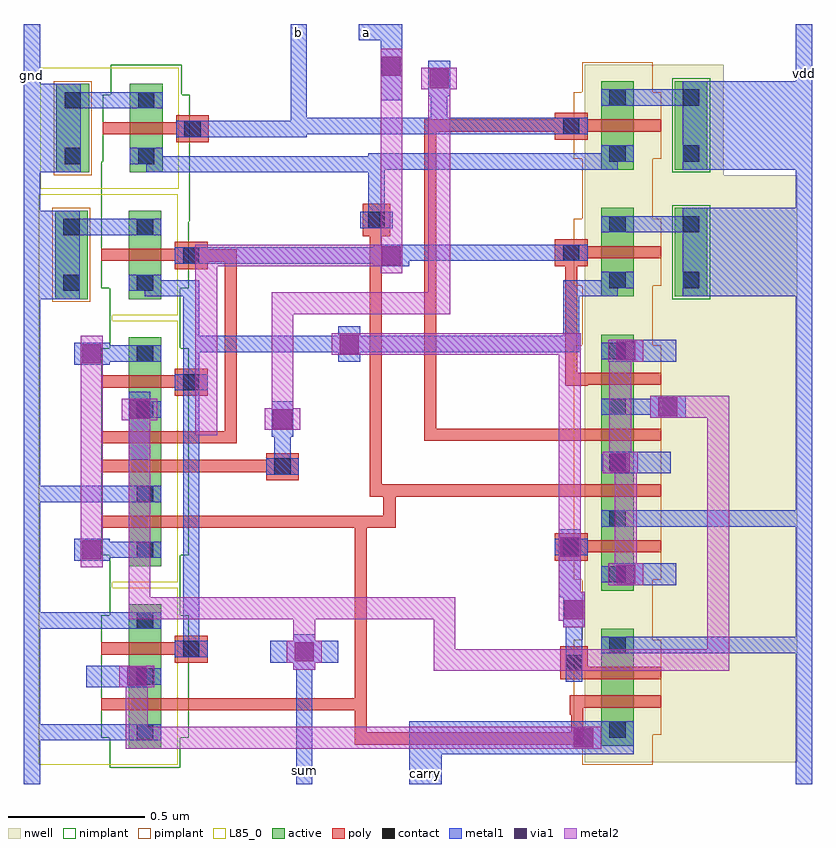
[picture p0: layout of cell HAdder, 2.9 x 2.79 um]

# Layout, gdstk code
from math import pi, radians
import gdstk
lib = gdstk.Library(unit=1e-6, precision=5e-10)
def R(c, l, rs):  # rectangles x0, y0, x1, y1
    for r in rs: c.add(gdstk.rectangle(r[:2], r[2:], *l))
active = (1, 0)
nwell = (2, 0)
poly = (3, 0)
nimplant = (4, 0)
pimplant = (5, 0)
contact = (6, 0)
metal1 = (7, 0)
via1 = (8, 0)
metal2 = (9, 0)
L85_0 = (85, 0)

pmos1v_cdns_764915992330 = lib.new_cell('pmos1v_CDNS_764915992330')
R(pmos1v_cdns_764915992330, active, [(-0.14,0,0,0.12), (0,0,0.045,0.12), (0.045,0,0.185,0.12), (-0.14,0.27,0.185,0.39)])
R(pmos1v_cdns_764915992330, nwell, [(-0.2,-0.06,0.245,0.45)])
R(pmos1v_cdns_764915992330, poly, [(0,-0.1,0.045,-0.05), (0,-0.05,0.045,0), (0,0,0.045,0.12), (0,0.12,0.045,0.17), (0,0.17,0.045,0.22)])
R(pmos1v_cdns_764915992330, nimplant, [(-0.15,0.26,0.195,0.4)])
R(pmos1v_cdns_764915992330, pimplant, [(-0.1,-0.1,0.145,0.22), (-0.21,-0.07,0.255,0.19)])
R(pmos1v_cdns_764915992330, contact, [(-0.11,0.03,-0.05,0.09), (0.095,0.03,0.155,0.09), (-0.11,0.3,-0.05,0.36), (0.095,0.3,0.155,0.36)])
R(pmos1v_cdns_764915992330, metal1, [(-0.11,0,-0.05,0.12), (0.095,0,0.155,0.12), (-0.14,0.3,0.185,0.36)])

nmos1v_cdns_764915992331 = lib.new_cell('nmos1v_CDNS_764915992331')
R(nmos1v_cdns_764915992331, active, [(-0.14,0,0,0.12), (0,0,0.045,0.12), (0.045,0,0.095,0.12)])
R(nmos1v_cdns_764915992331, poly, [(0,-0.1,0.045,-0.05), (0,-0.05,0.045,0), (0,0,0.045,0.12), (0,0.12,0.045,0.17), (0,0.17,0.045,0.22)])
R(nmos1v_cdns_764915992331, nimplant, [(-0.1,-0.1,0.145,0.22), (-0.21,-0.07,0.165,0.19)])
R(nmos1v_cdns_764915992331, contact, [(-0.11,0.03,-0.05,0.09)])
R(nmos1v_cdns_764915992331, metal1, [(-0.11,0,-0.05,0.12)])
R(nmos1v_cdns_764915992331, L85_0, [(-0.2,-0.06,0.155,0.18)])

pmos1v_cdns_764915992332 = lib.new_cell('pmos1v_CDNS_764915992332')
R(pmos1v_cdns_764915992332, active, [(-0.11,0,0,0.12), (0,0,0.045,0.12), (0.045,0,0.155,0.12)])
R(pmos1v_cdns_764915992332, nwell, [(-0.17,-0.06,0.215,0.18)])
R(pmos1v_cdns_764915992332, poly, [(0,-0.1,0.045,-0.05), (0,-0.05,0.045,0), (0,0,0.045,0.12), (0,0.12,0.045,0.17), (0,0.17,0.045,0.22)])
R(pmos1v_cdns_764915992332, pimplant, [(-0.1,-0.1,0.145,0.22), (-0.18,-0.07,0.225,0.19)])
R(pmos1v_cdns_764915992332, contact, [(-0.11,0.03,-0.05,0.09), (0.095,0.03,0.155,0.09)])
R(pmos1v_cdns_764915992332, metal1, [(-0.11,0,-0.05,0.12), (0.095,0,0.155,0.12)])

pmos1v_cdns_764915992333 = lib.new_cell('pmos1v_CDNS_764915992333')
R(pmos1v_cdns_764915992333, active, [(-0.14,0,0,0.12), (0,0,0.045,0.12), (0.045,0,0.155,0.12)])
R(pmos1v_cdns_764915992333, nwell, [(-0.2,-0.06,0.215,0.18)])
R(pmos1v_cdns_764915992333, poly, [(0,-0.1,0.045,-0.05), (0,-0.05,0.045,0), (0,0,0.045,0.12), (0,0.12,0.045,0.17), (0,0.17,0.045,0.22)])
R(pmos1v_cdns_764915992333, pimplant, [(-0.1,-0.1,0.145,0.22), (-0.21,-0.07,0.225,0.19)])
R(pmos1v_cdns_764915992333, contact, [(-0.11,0.03,-0.05,0.09), (0.095,0.03,0.155,0.09)])
R(pmos1v_cdns_764915992333, metal1, [(-0.11,0,-0.05,0.12), (0.095,0,0.155,0.12)])

pmos1v_cdns_764915992334 = lib.new_cell('pmos1v_CDNS_764915992334')
R(pmos1v_cdns_764915992334, active, [(-0.14,0,0,0.12), (0,0,0.045,0.12), (0.045,0,0.075,0.12)])
R(pmos1v_cdns_764915992334, nwell, [(-0.2,-0.06,0.135,0.18)])
R(pmos1v_cdns_764915992334, poly, [(0,-0.1,0.045,-0.05), (0,-0.05,0.045,0), (0,0,0.045,0.12), (0,0.12,0.045,0.17), (0,0.17,0.045,0.22)])
R(pmos1v_cdns_764915992334, pimplant, [(-0.1,-0.1,0.145,0.22), (-0.21,-0.07,0.145,0.19)])
R(pmos1v_cdns_764915992334, contact, [(-0.11,0.03,-0.05,0.09)])
R(pmos1v_cdns_764915992334, metal1, [(-0.11,0,-0.05,0.12)])

pmos1v_cdns_764915992335 = lib.new_cell('pmos1v_CDNS_764915992335')
R(pmos1v_cdns_764915992335, active, [(-0.03,0,0,0.12), (0,0,0.045,0.12), (0.045,0,0.185,0.12)])
R(pmos1v_cdns_764915992335, nwell, [(-0.09,-0.06,0.245,0.18)])
R(pmos1v_cdns_764915992335, poly, [(0,-0.1,0.045,-0.05), (0,-0.05,0.045,0), (0,0,0.045,0.12), (0,0.12,0.045,0.17), (0,0.17,0.045,0.22)])
R(pmos1v_cdns_764915992335, pimplant, [(-0.1,-0.1,0.145,0.22), (-0.1,-0.07,0.255,0.19)])
R(pmos1v_cdns_764915992335, contact, [(0.095,0.03,0.155,0.09)])
R(pmos1v_cdns_764915992335, metal1, [(0.095,0,0.155,0.12)])

nmos1v_cdns_764915992336 = lib.new_cell('nmos1v_CDNS_764915992336')
R(nmos1v_cdns_764915992336, active, [(-0.14,0,0,0.12), (0,0,0.045,0.12), (0.045,0,0.155,0.12)])
R(nmos1v_cdns_764915992336, poly, [(0,-0.1,0.045,-0.05), (0,-0.05,0.045,0), (0,0,0.045,0.12), (0,0.12,0.045,0.17), (0,0.17,0.045,0.22)])
R(nmos1v_cdns_764915992336, nimplant, [(-0.1,-0.1,0.145,0.22), (-0.21,-0.07,0.225,0.19)])
R(nmos1v_cdns_764915992336, contact, [(-0.11,0.03,-0.05,0.09), (0.095,0.03,0.155,0.09)])
R(nmos1v_cdns_764915992336, metal1, [(-0.11,0,-0.05,0.12), (0.095,0,0.155,0.12)])
R(nmos1v_cdns_764915992336, L85_0, [(-0.2,-0.06,0.215,0.18)])

nmos1v_cdns_764915992337 = lib.new_cell('nmos1v_CDNS_764915992337')
R(nmos1v_cdns_764915992337, active, [(-0.05,0,0,0.12), (0,0,0.045,0.12), (0.045,0,0.185,0.12)])
R(nmos1v_cdns_764915992337, poly, [(0,-0.1,0.045,-0.05), (0,-0.05,0.045,0), (0,0,0.045,0.12), (0,0.12,0.045,0.17), (0,0.17,0.045,0.22)])
R(nmos1v_cdns_764915992337, nimplant, [(-0.1,-0.1,0.145,0.22), (-0.12,-0.07,0.255,0.19)])
R(nmos1v_cdns_764915992337, contact, [(0.095,0.03,0.155,0.09)])
R(nmos1v_cdns_764915992337, metal1, [(0.095,0,0.155,0.12)])
R(nmos1v_cdns_764915992337, L85_0, [(-0.11,-0.06,0.245,0.18)])

nmos1v_cdns_764915992338 = lib.new_cell('nmos1v_CDNS_764915992338')
R(nmos1v_cdns_764915992338, active, [(-0.03,0,0,0.12), (0,0,0.045,0.12), (0.045,0,0.095,0.12)])
R(nmos1v_cdns_764915992338, poly, [(0,-0.1,0.045,-0.05), (0,-0.05,0.045,0), (0,0,0.045,0.12), (0,0.12,0.045,0.17), (0,0.17,0.045,0.22)])
R(nmos1v_cdns_764915992338, nimplant, [(-0.1,-0.1,0.145,0.22), (-0.1,-0.07,0.165,0.19)])
R(nmos1v_cdns_764915992338, L85_0, [(-0.09,-0.06,0.155,0.18)])

nmos1v_cdns_764915992339 = lib.new_cell('nmos1v_CDNS_764915992339')
R(nmos1v_cdns_764915992339, active, [(-0.11,0,0,0.12), (0,0,0.045,0.12), (0.045,0,0.075,0.12)])
R(nmos1v_cdns_764915992339, poly, [(0,-0.1,0.045,-0.05), (0,-0.05,0.045,0), (0,0,0.045,0.12), (0,0.12,0.045,0.17), (0,0.17,0.045,0.22)])
R(nmos1v_cdns_764915992339, nimplant, [(-0.1,-0.1,0.145,0.22), (-0.18,-0.07,0.145,0.19)])
R(nmos1v_cdns_764915992339, contact, [(-0.11,0.03,-0.05,0.09)])
R(nmos1v_cdns_764915992339, metal1, [(-0.11,0,-0.05,0.12)])
R(nmos1v_cdns_764915992339, L85_0, [(-0.17,-0.06,0.135,0.18)])

pmos1v_cdns_764915992331 = lib.new_cell('pmos1v_CDNS_7649159923310')
R(pmos1v_cdns_764915992331, active, [(-0.05,0,0,0.12), (0,0,0.045,0.12), (0.045,0,0.185,0.12)])
R(pmos1v_cdns_764915992331, nwell, [(-0.11,-0.06,0.245,0.18)])
R(pmos1v_cdns_764915992331, poly, [(0,-0.1,0.045,-0.05), (0,-0.05,0.045,0), (0,0,0.045,0.12), (0,0.12,0.045,0.17), (0,0.17,0.045,0.22)])
R(pmos1v_cdns_764915992331, pimplant, [(-0.1,-0.1,0.145,0.22), (-0.12,-0.07,0.255,0.19)])
R(pmos1v_cdns_764915992331, contact, [(0.095,0.03,0.155,0.09)])
R(pmos1v_cdns_764915992331, metal1, [(0.095,0,0.155,0.12)])

c_pmos1v_cdns_764915992331 = lib.new_cell('pmos1v_CDNS_7649159923311')
R(c_pmos1v_cdns_764915992331, active, [(-0.05,0,0,0.12), (0,0,0.045,0.12), (0.045,0,0.095,0.12)])
R(c_pmos1v_cdns_764915992331, nwell, [(-0.11,-0.06,0.155,0.18)])
R(c_pmos1v_cdns_764915992331, poly, [(0,-0.1,0.045,-0.05), (0,-0.05,0.045,0), (0,0,0.045,0.12), (0,0.12,0.045,0.17), (0,0.17,0.045,0.22)])
R(c_pmos1v_cdns_764915992331, pimplant, [(-0.1,-0.1,0.145,0.22), (-0.12,-0.07,0.165,0.19)])

c_nmos1v_cdns_764915992331 = lib.new_cell('nmos1v_CDNS_7649159923312')
R(c_nmos1v_cdns_764915992331, active, [(-0.14,-0.27,0.185,-0.15), (-0.14,0,0,0.12), (0,0,0.045,0.12), (0.045,0,0.185,0.12)])
R(c_nmos1v_cdns_764915992331, poly, [(0,-0.1,0.045,-0.05), (0,-0.05,0.045,0), (0,0,0.045,0.12), (0,0.12,0.045,0.17), (0,0.17,0.045,0.22)])
R(c_nmos1v_cdns_764915992331, nimplant, [(-0.1,-0.1,0.145,0.22), (-0.21,-0.07,0.255,0.19)])
R(c_nmos1v_cdns_764915992331, pimplant, [(-0.15,-0.28,0.195,-0.14)])
R(c_nmos1v_cdns_764915992331, contact, [(-0.11,-0.24,-0.05,-0.18), (0.095,-0.24,0.155,-0.18), (-0.11,0.03,-0.05,0.09), (0.095,0.03,0.155,0.09)])
R(c_nmos1v_cdns_764915992331, metal1, [(-0.14,-0.24,0.185,-0.18), (-0.11,0,-0.05,0.12), (0.095,0,0.155,0.12)])
R(c_nmos1v_cdns_764915992331, L85_0, [(-0.2,-0.33,0.245,0.18)])

m1_po_cdns_764915992330 = lib.new_cell('M1_PO_CDNS_764915992330')
R(m1_po_cdns_764915992330, poly, [(-0.06,-0.05,0.06,0.05)])
R(m1_po_cdns_764915992330, contact, [(-0.03,-0.03,0.03,0.03)])
R(m1_po_cdns_764915992330, metal1, [(-0.03,-0.06,0.03,0.06)])

m1_po_cdns_764915992331 = lib.new_cell('M1_PO_CDNS_764915992331')
R(m1_po_cdns_764915992331, poly, [(-0.05,-0.06,0.05,0.06)])
R(m1_po_cdns_764915992331, contact, [(-0.03,-0.03,0.03,0.03)])
R(m1_po_cdns_764915992331, metal1, [(-0.03,-0.06,0.03,0.06)])

m2_m1_cdns_764915992332 = lib.new_cell('M2_M1_CDNS_764915992332')
R(m2_m1_cdns_764915992332, metal1, [(-0.065,-0.04,0.065,0.04)])
R(m2_m1_cdns_764915992332, via1, [(-0.035,-0.035,0.035,0.035)])
R(m2_m1_cdns_764915992332, metal2, [(-0.04,-0.065,0.04,0.065)])

m2_m1_cdns_764915992333 = lib.new_cell('M2_M1_CDNS_764915992333')
R(m2_m1_cdns_764915992333, metal1, [(-0.04,-0.065,0.04,0.065)])
R(m2_m1_cdns_764915992333, via1, [(-0.035,-0.035,0.035,0.035)])
R(m2_m1_cdns_764915992333, metal2, [(-0.065,-0.04,0.065,0.04)])

m2_m1_cdns_764915992334 = lib.new_cell('M2_M1_CDNS_764915992334')
R(m2_m1_cdns_764915992334, metal1, [(-0.125,-0.04,0.125,0.04)])
R(m2_m1_cdns_764915992334, via1, [(-0.035,-0.035,0.035,0.035)])
R(m2_m1_cdns_764915992334, metal2, [(-0.065,-0.04,0.065,0.04)])

m2_m1_cdns_764915992335 = lib.new_cell('M2_M1_CDNS_764915992335')
R(m2_m1_cdns_764915992335, metal1, [(-0.065,-0.04,0.185,0.04)])
R(m2_m1_cdns_764915992335, via1, [(-0.035,-0.035,0.035,0.035)])
R(m2_m1_cdns_764915992335, metal2, [(-0.065,-0.04,0.065,0.04)])

m2_m1_cdns_764915992336 = lib.new_cell('M2_M1_CDNS_764915992336')
R(m2_m1_cdns_764915992336, metal1, [(-0.065,-0.04,0.185,0.04)])
R(m2_m1_cdns_764915992336, via1, [(-0.035,-0.035,0.035,0.035)])
R(m2_m1_cdns_764915992336, metal2, [(-0.04,-0.065,0.04,0.065)])

m2_m1_cdns_764915992337 = lib.new_cell('M2_M1_CDNS_764915992337')
R(m2_m1_cdns_764915992337, metal1, [(-0.04,-0.065,0.04,0.065)])
R(m2_m1_cdns_764915992337, via1, [(-0.035,-0.035,0.035,0.035)])
R(m2_m1_cdns_764915992337, metal2, [(-0.04,-0.065,0.04,0.065)])

m2_m1_cdns_764915992338 = lib.new_cell('M2_M1_CDNS_764915992338')
R(m2_m1_cdns_764915992338, metal1, [(-0.04,-0.065,0.04,0.185)])
R(m2_m1_cdns_764915992338, via1, [(-0.035,-0.035,0.035,0.035)])
R(m2_m1_cdns_764915992338, metal2, [(-0.04,-0.065,0.04,0.065)])

m2_m1_cdns_764915992339 = lib.new_cell('M2_M1_CDNS_764915992339')
R(m2_m1_cdns_764915992339, metal1, [(-0.04,-0.125,0.04,0.125)])
R(m2_m1_cdns_764915992339, via1, [(-0.035,-0.035,0.035,0.035)])
R(m2_m1_cdns_764915992339, metal2, [(-0.065,-0.04,0.065,0.04)])

m2_m1_cdns_7649159923310 = lib.new_cell('M2_M1_CDNS_7649159923310')
R(m2_m1_cdns_7649159923310, metal1, [(-0.04,-0.185,0.04,0.065)])
R(m2_m1_cdns_7649159923310, via1, [(-0.035,-0.035,0.035,0.035)])
R(m2_m1_cdns_7649159923310, metal2, [(-0.04,-0.065,0.04,0.065)])

m2_m1_cdns_7649159923311 = lib.new_cell('M2_M1_CDNS_7649159923311')
R(m2_m1_cdns_7649159923311, metal1, [(-0.065,-0.04,0.065,0.04)])
R(m2_m1_cdns_7649159923311, via1, [(-0.035,-0.035,0.035,0.035)])
R(m2_m1_cdns_7649159923311, metal2, [(-0.065,-0.04,0.065,0.04)])

hadder = lib.new_cell('HAdder')
R(hadder, nwell, [(2.46,-3.645,3.24,-1.49), (2.7,-3.645,3.235,-1.995), (2.7,-3.245,3.235,-1.835)])
R(hadder, nimplant, [(0.685,-1.66,0.72,-1.44), (0.975,-1.66,1.01,-1.44)])
R(hadder, metal1, [(1.4,-3.725,1.46,-3.665), (1.845,-3.725,1.905,-3.665), (0.4,-1.155,0.46,-1.095), (3.235,-1.145,3.295,-1.085), (1.38,-0.995,1.44,-0.935), (1.63,-0.995,1.69,-0.935)])
R(hadder, L85_0, [(0.455,-3.655,0.725,-2.005)])
hadder.add(gdstk.FlexPath([(2.47,-2.24),(2.41,-2.24)], 0.045, ends=(0, 0.0225), simple_path=True, layer=3, datatype=0))  # poly
hadder.add(gdstk.FlexPath([(0.9775,-2.4525),(1.15,-2.4525)], 0.045, ends="extended", simple_path=True, layer=3, datatype=0))  # poly
hadder.add(gdstk.FlexPath([(1.16,-1.785),(1.015,-1.785)], 0.045, ends="extended", simple_path=True, layer=3, datatype=0))  # poly
hadder.add(gdstk.FlexPath([(1.16,-2.4525),(1.16,-1.785)], 0.045, ends="extended", simple_path=True, layer=3, datatype=0))  # poly
hadder.add(gdstk.FlexPath([(1.15,-2.4525),(1.16,-2.4525)], 0.045, ends="extended", simple_path=True, layer=3, datatype=0))  # poly
hadder.add(gdstk.FlexPath([(2.47,-2.6475),(1.7425,-2.6475)], 0.045, ends=(0, 0.0225), simple_path=True, layer=3, datatype=0))  # poly
hadder.add(gdstk.FlexPath([(2.41,-2.24),(2.41,-1.775)], 0.045, ends="extended", simple_path=True, layer=3, datatype=0))  # poly
hadder.add(gdstk.FlexPath([(1.695,-1.6525),(1.695,-1.655)], 0.045, ends="extended", simple_path=True, layer=3, datatype=0))  # poly
hadder.add(gdstk.FlexPath([(2.47,-1.7725),(2.41,-1.7725)], 0.045, ends=(0, 0.06), simple_path=True, layer=3, datatype=0))  # poly
hadder.add(gdstk.FlexPath([(1.015,-3.2275),(1.015,-3.23)], 0.045, ends="flush", simple_path=True, layer=3, datatype=0))  # poly
hadder.add(gdstk.FlexPath([(1.015,-1.7825),(1.015,-1.785)], 0.045, ends="flush", simple_path=True, layer=3, datatype=0))  # poly
hadder.add(gdstk.FlexPath([(0.955,-1.7825),(1.015,-1.7825)], 0.045, ends=(0, 0.06), simple_path=True, layer=3, datatype=0))  # poly
hadder.add(gdstk.FlexPath([(2.41,-2.8525),(2.41,-2.855)], 0.045, ends=(0.0225, 0), simple_path=True, layer=3, datatype=0))  # poly
hadder.add(gdstk.FlexPath([(1.015,-2.2475),(1.015,-2.25)], 0.045, ends="flush", simple_path=True, layer=3, datatype=0))  # poly
hadder.add(gdstk.FlexPath([(0.955,-2.2475),(1.015,-2.2475)], 0.045, ends=(0, 0.06), simple_path=True, layer=3, datatype=0))  # poly
hadder.add(gdstk.FlexPath([(2.47,-2.8525),(2.41,-2.8525)], 0.045, ends=(0, 0.0225), simple_path=True, layer=3, datatype=0))  # poly
hadder.add(gdstk.FlexPath([(2.4275,-3.4225),(2.42,-3.4225)], 0.045, ends=(0.0225, 0), simple_path=True, layer=3, datatype=0))  # poly
hadder.add(gdstk.FlexPath([(0.955,-3.2275),(1.015,-3.2275)], 0.045, ends=(0, 0.06), simple_path=True, layer=3, datatype=0))  # poly
hadder.add(gdstk.FlexPath([(1.8925,-1.3075),(2.4475,-1.3075)], 0.045, ends="extended", simple_path=True, layer=3, datatype=0))  # poly
hadder.add(gdstk.FlexPath([(2.4275,-3.47),(2.4275,-3.4225)], 0.045, ends=(0, 0.0225), simple_path=True, layer=3, datatype=0))  # poly
hadder.add(gdstk.FlexPath([(0.955,-2.5575),(1.35,-2.5575)], 0.045, ends="flush", simple_path=True, layer=3, datatype=0))  # poly
hadder.add(gdstk.FlexPath([(1.8925,-2.4425),(1.8925,-1.3075)], 0.045, ends="extended", simple_path=True, layer=3, datatype=0))  # poly
hadder.add(gdstk.FlexPath([(1.6925,-1.6525),(1.695,-1.6525)], 0.045, ends=(0.0225, 0), simple_path=True, layer=3, datatype=0))  # poly
hadder.add(gdstk.FlexPath([(1.005,-3.4325),(1.6375,-3.4325)], 0.045, ends=(0, 0.0225), simple_path=True, layer=3, datatype=0))  # poly
hadder.add(gdstk.FlexPath([(0.955,-2.7625),(1.6375,-2.7625)], 0.045, ends=(0, 0.0225), simple_path=True, layer=3, datatype=0))  # poly
hadder.add(gdstk.FlexPath([(2.4325,-3.5575),(2.4325,-3.445)], 0.045, ends=(0.0225, 0), simple_path=True, layer=3, datatype=0))  # poly
hadder.add(gdstk.FlexPath([(1.6375,-3.5575),(2.4325,-3.5575)], 0.045, ends="extended", simple_path=True, layer=3, datatype=0))  # poly
hadder.add(gdstk.FlexPath([(1.6375,-3.4325),(1.6375,-3.5575)], 0.045, ends="extended", simple_path=True, layer=3, datatype=0))  # poly
hadder.add(gdstk.FlexPath([(1.6375,-2.7625),(1.6375,-3.4325)], 0.045, ends="extended", simple_path=True, layer=3, datatype=0))  # poly
hadder.add(gdstk.FlexPath([(2.41,-1.3075),(2.41,-1.31)], 0.045, ends="extended", simple_path=True, layer=3, datatype=0))  # poly
hadder.add(gdstk.FlexPath([(1.35,-2.5575),(1.35,-2.56)], 0.045, ends="extended", simple_path=True, layer=3, datatype=0))  # poly
hadder.add(gdstk.FlexPath([(1.7425,-2.7625),(1.7425,-2.6475)], 0.045, ends="extended", simple_path=True, layer=3, datatype=0))  # poly
hadder.add(gdstk.FlexPath([(1.6375,-2.7625),(1.7425,-2.7625)], 0.045, ends="extended", simple_path=True, layer=3, datatype=0))  # poly
hadder.add(gdstk.FlexPath([(2.4475,-2.4425),(1.8925,-2.4425)], 0.045, ends="extended", simple_path=True, layer=3, datatype=0))  # poly
hadder.add(gdstk.FlexPath([(1.6925,-2.6475),(1.6925,-1.6525)], 0.045, ends="extended", simple_path=True, layer=3, datatype=0))  # poly
hadder.add(gdstk.FlexPath([(1.7425,-2.6475),(1.6925,-2.6475)], 0.045, ends="extended", simple_path=True, layer=3, datatype=0))  # poly
hadder.add(gdstk.FlexPath([(2.42,-3.085),(2.42,-3.32)], 0.06, ends=(0.065, 0.03), simple_path=True, layer=7, datatype=0))  # metal1
hadder.add(gdstk.FlexPath([(1.41,-1.31),(1.925,-1.31)], 0.06, ends="extended", simple_path=True, layer=7, datatype=0))  # metal1
hadder.add(gdstk.FlexPath([(1.925,-1.135),(1.925,-1.31)], 0.06, ends="extended", simple_path=True, layer=7, datatype=0))  # metal1
hadder.add(gdstk.FlexPath([(1.0175,-1.32),(1.02,-1.32)], 0.06, ends=(0, 0.03), simple_path=True, layer=7, datatype=0))  # metal1
hadder.add(gdstk.FlexPath([(1.02,-1.32),(1.41,-1.32)], 0.06, ends=(0, 0.03), simple_path=True, layer=7, datatype=0))  # metal1
hadder.add(gdstk.FlexPath([(0.65,-2.145),(0.875,-2.145)], 0.06, ends=(0.065, 0.03), simple_path=True, layer=7, datatype=0))  # metal1
hadder.add(gdstk.FlexPath([(0.875,-2.865),(0.65,-2.865)], 0.06, ends=(0.03, 0.065), simple_path=True, layer=7, datatype=0))  # metal1
hadder.add(gdstk.FlexPath([(0.785,-1.68),(0.545,-1.68)], 0.06, ends="flush", simple_path=True, layer=7, datatype=0))  # metal1
hadder.add(gdstk.FlexPath([(0.79,-1.215),(0.55,-1.215)], 0.06, ends="flush", simple_path=True, layer=7, datatype=0))  # metal1
hadder.add(gdstk.FlexPath([(2.64,-1.67),(2.88,-1.67)], 0.06, ends="flush", simple_path=True, layer=7, datatype=0))  # metal1
hadder.add(gdstk.FlexPath([(2.64,-1.205),(2.82,-1.205)], 0.06, ends="flush", simple_path=True, layer=7, datatype=0))  # metal1
hadder.add(gdstk.FlexPath([(2.88,-1.7725),(3.265,-1.7725)], 0.325, ends=(0, 0.03), simple_path=True, layer=7, datatype=0))  # metal1
hadder.add(gdstk.FlexPath([(3.265,-1.145),(3.265,-3.725)], 0.06, ends="flush", simple_path=True, layer=7, datatype=0))  # metal1
hadder.add(gdstk.FlexPath([(2.855,-1.3075),(3.265,-1.3075)], 0.325, ends=(0, 0.03), simple_path=True, layer=7, datatype=0))  # metal1
hadder.add(gdstk.FlexPath([(0.43,-1.3175),(0.43,-1.7825)], 0.06, ends=(0.1625, 0.1625), simple_path=True, layer=7, datatype=0))  # metal1
hadder.add(gdstk.FlexPath([(0.545,-1.7825),(0.43,-1.7825)], 0.325, ends=(0, 0.03), simple_path=True, layer=7, datatype=0))  # metal1
hadder.add(gdstk.FlexPath([(0.43,-1.125),(0.43,-1.3175)], 0.06, ends=(0, 0.1625), simple_path=True, layer=7, datatype=0))  # metal1
hadder.add(gdstk.FlexPath([(0.55,-1.3175),(0.43,-1.3175)], 0.325, ends=(0, 0.03), simple_path=True, layer=7, datatype=0))  # metal1
hadder.add(gdstk.FlexPath([(0.785,-3.535),(0.43,-3.535)], 0.06, ends=(0, 0.03), simple_path=True, layer=7, datatype=0))  # metal1
hadder.add(gdstk.FlexPath([(0.43,-3.125),(0.43,-3.535)], 0.06, ends="extended", simple_path=True, layer=7, datatype=0))  # metal1
hadder.add(gdstk.FlexPath([(3.265,-1.085),(3.265,-0.935)], 0.06, ends="flush", simple_path=True, layer=7, datatype=0))  # metal1
hadder.add(gdstk.FlexPath([(2.58,-3.555),(1.875,-3.555)], 0.12, ends="extended", simple_path=True, layer=7, datatype=0))  # metal1
hadder.add(gdstk.FlexPath([(1.875,-3.555),(1.875,-3.725)], 0.12, ends=(0.06, 0), simple_path=True, layer=7, datatype=0))  # metal1
hadder.add(gdstk.FlexPath([(2.64,-2.75),(3.265,-2.75)], 0.06, ends=(0, 0.03), simple_path=True, layer=7, datatype=0))  # metal1
hadder.add(gdstk.FlexPath([(2.64,-3.215),(3.265,-3.215)], 0.06, ends=(0, 0.03), simple_path=True, layer=7, datatype=0))  # metal1
hadder.add(gdstk.FlexPath([(0.785,-2.66),(0.43,-2.66)], 0.06, ends=(0, 0.03), simple_path=True, layer=7, datatype=0))  # metal1
hadder.add(gdstk.FlexPath([(0.43,-1.7825),(0.43,-2.66)], 0.06, ends=(0.1625, 0.03), simple_path=True, layer=7, datatype=0))  # metal1
hadder.add(gdstk.FlexPath([(0.43,-1.095),(0.43,-0.935)], 0.06, ends="flush", simple_path=True, layer=7, datatype=0))  # metal1
hadder.add(gdstk.FlexPath([(1.43,-3.635),(1.43,-3.24)], 0.06, ends=(0.03, 0.04), simple_path=True, layer=7, datatype=0))  # metal1
hadder.add(gdstk.FlexPath([(0.785,-3.125),(0.43,-3.125)], 0.06, ends=(0, 0.03), simple_path=True, layer=7, datatype=0))  # metal1
hadder.add(gdstk.FlexPath([(0.43,-2.66),(0.43,-3.125)], 0.06, ends="extended", simple_path=True, layer=7, datatype=0))  # metal1
hadder.add(gdstk.FlexPath([(2.55,-2.34),(2.765,-2.34)], 0.06, ends=(0.03, 0.065), simple_path=True, layer=7, datatype=0))  # metal1
hadder.add(gdstk.FlexPath([(1.66,-0.965),(1.75,-0.965)], 0.06, ends=(0.03, 0.04), simple_path=True, layer=7, datatype=0))  # metal1
hadder.add(gdstk.FlexPath([(1.015,-3.23),(1.015,-2.25)], 0.06, ends="extended", simple_path=True, layer=7, datatype=0))  # metal1
hadder.add(gdstk.FlexPath([(2.41,-2.855),(2.405,-2.855)], 0.06, ends=(0.03, 0.04), simple_path=True, layer=7, datatype=0))  # metal1
hadder.add(gdstk.FlexPath([(1.75,-1.775),(1.75,-1.785)], 0.06, ends=(0.03, 0.04), simple_path=True, layer=7, datatype=0))  # metal1
hadder.add(gdstk.FlexPath([(2.41,-1.775),(1.75,-1.775)], 0.06, ends="extended", simple_path=True, layer=7, datatype=0))  # metal1
hadder.add(gdstk.FlexPath([(1.75,-1.785),(1.015,-1.785)], 0.06, ends=(0.065, 0.03), simple_path=True, layer=7, datatype=0))  # metal1
hadder.add(gdstk.FlexPath([(1.015,-1.905),(1.015,-2.11)], 0.06, ends="extended", simple_path=True, layer=7, datatype=0))  # metal1
hadder.add(gdstk.FlexPath([(0.875,-1.905),(1.015,-1.905)], 0.06, ends="extended", simple_path=True, layer=7, datatype=0))  # metal1
hadder.add(gdstk.FlexPath([(0.875,-1.885),(0.875,-1.905)], 0.06, ends="extended", simple_path=True, layer=7, datatype=0))  # metal1
hadder.add(gdstk.FlexPath([(0.785,-1.885),(0.875,-1.885)], 0.06, ends=(0, 0.03), simple_path=True, layer=7, datatype=0))  # metal1
hadder.add(gdstk.FlexPath([(1.35,-2.56),(1.35,-2.385)], 0.06, ends="extended", simple_path=True, layer=7, datatype=0))  # metal1
hadder.add(gdstk.FlexPath([(1.015,-2.11),(1.015,-2.25)], 0.06, ends="extended", simple_path=True, layer=7, datatype=0))  # metal1
hadder.add(gdstk.FlexPath([(2.55,-1.875),(2.64,-1.875)], 0.06, ends=(0.03, 0), simple_path=True, layer=7, datatype=0))  # metal1
hadder.add(gdstk.FlexPath([(2.55,-1.905),(2.55,-1.875)], 0.06, ends="extended", simple_path=True, layer=7, datatype=0))  # metal1
hadder.add(gdstk.FlexPath([(2.41,-1.905),(2.55,-1.905)], 0.06, ends="extended", simple_path=True, layer=7, datatype=0))  # metal1
hadder.add(gdstk.FlexPath([(2.41,-2.11),(2.41,-1.905)], 0.06, ends="extended", simple_path=True, layer=7, datatype=0))  # metal1
hadder.add(gdstk.FlexPath([(1.015,-2.11),(2.41,-2.11)], 0.06, ends="extended", simple_path=True, layer=7, datatype=0))  # metal1
hadder.add(gdstk.FlexPath([(1.41,-1.32),(1.41,-1.31)], 0.06, ends="extended", simple_path=True, layer=7, datatype=0))  # metal1
hadder.add(gdstk.FlexPath([(1.41,-1.31),(1.41,-0.965)], 0.06, ends="extended", simple_path=True, layer=7, datatype=0))  # metal1
hadder.add(gdstk.FlexPath([(1.925,-1.31),(2.41,-1.31)], 0.06, ends="extended", simple_path=True, layer=7, datatype=0))  # metal1
hadder.add(gdstk.FlexPath([(0.88,-1.42),(0.79,-1.42)], 0.06, ends=(0.03, 0), simple_path=True, layer=7, datatype=0))  # metal1
hadder.add(gdstk.FlexPath([(0.88,-1.45),(0.88,-1.42)], 0.06, ends="extended", simple_path=True, layer=7, datatype=0))  # metal1
hadder.add(gdstk.FlexPath([(1.695,-1.45),(0.88,-1.45)], 0.06, ends="extended", simple_path=True, layer=7, datatype=0))  # metal1
hadder.add(gdstk.FlexPath([(1.695,-1.655),(1.695,-1.45)], 0.06, ends="extended", simple_path=True, layer=7, datatype=0))  # metal1
hadder.add(gdstk.FlexPath([(2.55,-1.41),(2.64,-1.41)], 0.06, ends=(0.03, 0), simple_path=True, layer=7, datatype=0))  # metal1
hadder.add(gdstk.FlexPath([(2.55,-1.44),(2.55,-1.41)], 0.06, ends="extended", simple_path=True, layer=7, datatype=0))  # metal1
hadder.add(gdstk.FlexPath([(1.695,-1.44),(2.55,-1.44)], 0.06, ends="extended", simple_path=True, layer=7, datatype=0))  # metal1
hadder.add(gdstk.FlexPath([(1.695,-1.45),(1.695,-1.44)], 0.06, ends="extended", simple_path=True, layer=7, datatype=0))  # metal1
hadder.add(gdstk.FlexPath([(0.43,-3.535),(0.43,-3.725)], 0.06, ends=(0.03, 0), simple_path=True, layer=7, datatype=0))  # metal1
hadder.add(gdstk.FlexPath([(1.925,-1.96),(1.925,-1.135)], 0.08, ends="extended", simple_path=True, layer=9, datatype=0))  # metal2
hadder.add(gdstk.FlexPath([(1.35,-1.96),(1.925,-1.96)], 0.08, ends="extended", simple_path=True, layer=9, datatype=0))  # metal2
hadder.add(gdstk.FlexPath([(0.815,-3.555),(2.455,-3.555)], 0.08, ends="extended", simple_path=True, layer=9, datatype=0))  # metal2
hadder.add(gdstk.FlexPath([(0.815,-3.33),(0.815,-3.555)], 0.08, ends="extended", simple_path=True, layer=9, datatype=0))  # metal2
hadder.add(gdstk.FlexPath([(2.61,-2.545),(2.59,-2.545)], 0.08, ends="extended", simple_path=True, layer=9, datatype=0))  # metal2
hadder.add(gdstk.FlexPath([(2.61,-2.955),(2.61,-2.545)], 0.08, ends="extended", simple_path=True, layer=9, datatype=0))  # metal2
hadder.add(gdstk.FlexPath([(0.65,-2.865),(0.65,-2.145)], 0.08, ends=(0.065, 0.065), simple_path=True, layer=9, datatype=0))  # metal2
hadder.add(gdstk.FlexPath([(1.43,-3.08),(1.43,-3.24)], 0.08, ends=(0.04, 0.065), simple_path=True, layer=9, datatype=0))  # metal2
hadder.add(gdstk.FlexPath([(1.945,-3.08),(1.43,-3.08)], 0.08, ends="extended", simple_path=True, layer=9, datatype=0))  # metal2
hadder.add(gdstk.FlexPath([(1.945,-3.27),(1.945,-3.08)], 0.08, ends="extended", simple_path=True, layer=9, datatype=0))  # metal2
hadder.add(gdstk.FlexPath([(2.95,-3.27),(1.945,-3.27)], 0.08, ends="extended", simple_path=True, layer=9, datatype=0))  # metal2
hadder.add(gdstk.FlexPath([(2.95,-2.34),(2.95,-3.27)], 0.08, ends="extended", simple_path=True, layer=9, datatype=0))  # metal2
hadder.add(gdstk.FlexPath([(2.59,-2.135),(2.61,-2.135)], 0.08, ends=(0.04, 0.065), simple_path=True, layer=9, datatype=0))  # metal2
hadder.add(gdstk.FlexPath([(2.59,-2.545),(2.59,-2.135)], 0.08, ends="extended", simple_path=True, layer=9, datatype=0))  # metal2
hadder.add(gdstk.FlexPath([(2.765,-2.34),(2.95,-2.34)], 0.08, ends="extended", simple_path=True, layer=9, datatype=0))  # metal2
hadder.add(gdstk.FlexPath([(0.825,-3.08),(0.825,-2.35)], 0.08, ends="extended", simple_path=True, layer=9, datatype=0))  # metal2
hadder.add(gdstk.FlexPath([(1.43,-3.08),(0.825,-3.08)], 0.08, ends="extended", simple_path=True, layer=9, datatype=0))  # metal2
hadder.add(gdstk.FlexPath([(1.07,-1.785),(1.75,-1.785)], 0.08, ends="extended", simple_path=True, layer=9, datatype=0))  # metal2
hadder.add(gdstk.FlexPath([(1.07,-2.405),(1.07,-1.785)], 0.08, ends="extended", simple_path=True, layer=9, datatype=0))  # metal2
hadder.add(gdstk.FlexPath([(1.75,-1.11),(1.75,-1.785)], 0.08, ends=(0.065, 0.04), simple_path=True, layer=9, datatype=0))  # metal2
hadder.add(gdstk.FlexPath([(2.405,-2.11),(2.405,-3.085)], 0.08, ends="extended", simple_path=True, layer=9, datatype=0))  # metal2
hadder.add(gdstk.FlexPath([(1.35,-2.385),(1.35,-1.96)], 0.08, ends="extended", simple_path=True, layer=9, datatype=0))  # metal2
hadder.add(gdstk.FlexPath([(2.405,-3.085),(2.42,-3.085)], 0.08, ends="extended", simple_path=True, layer=9, datatype=0))  # metal2
hadder.add(gdstk.FlexPath([(1.595,-2.11),(2.405,-2.11)], 0.08, ends=(0.065, 0.04), simple_path=True, layer=9, datatype=0))  # metal2
hadder.add(gdstk.Reference(pmos1v_cdns_764915992330, (2.52,-1.75), rotation=3*pi/2))
hadder.add(gdstk.Reference(pmos1v_cdns_764915992330, (2.52,-1.285), rotation=3*pi/2))
hadder.add(gdstk.Reference(nmos1v_cdns_764915992331, (0.785,-3.455), rotation=pi/2, x_reflection=True))
hadder.add(gdstk.Reference(pmos1v_cdns_764915992332, (2.52,-2.67), rotation=pi/2, x_reflection=True))
hadder.add(gdstk.Reference(pmos1v_cdns_764915992333, (2.52,-2.215), rotation=3*pi/2))
hadder.add(gdstk.Reference(pmos1v_cdns_764915992334, (2.52,-3.295), rotation=3*pi/2))
hadder.add(gdstk.Reference(pmos1v_cdns_764915992335, (2.52,-3.4), rotation=3*pi/2))
hadder.add(gdstk.Reference(nmos1v_cdns_764915992336, (0.785,-3.205), rotation=3*pi/2))
hadder.add(gdstk.Reference(nmos1v_cdns_764915992336, (0.785,-2.225), rotation=3*pi/2))
hadder.add(gdstk.Reference(nmos1v_cdns_764915992337, (0.785,-2.74), rotation=3*pi/2))
hadder.add(gdstk.Reference(nmos1v_cdns_764915992338, (0.785,-2.475), rotation=pi/2, x_reflection=True))
hadder.add(gdstk.Reference(nmos1v_cdns_764915992339, (0.785,-2.58), rotation=pi/2, x_reflection=True))
hadder.add(gdstk.Reference(pmos1v_cdns_764915992331, (2.52,-2.83), rotation=3*pi/2))
hadder.add(gdstk.Reference(c_pmos1v_cdns_764915992331, (2.52,-2.465), rotation=pi/2, x_reflection=True))
hadder.add(gdstk.Reference(c_nmos1v_cdns_764915992331, (0.785,-1.76), rotation=3*pi/2))
hadder.add(gdstk.Reference(c_nmos1v_cdns_764915992331, (0.79,-1.295), rotation=3*pi/2))
hadder.add(gdstk.Reference(m1_po_cdns_764915992330, (1.695,-1.655), rotation=3*pi/2))
hadder.add(gdstk.Reference(m1_po_cdns_764915992331, (1.015,-3.23), rotation=3*pi/2))
hadder.add(gdstk.Reference(m1_po_cdns_764915992331, (1.015,-1.785), rotation=3*pi/2))
hadder.add(gdstk.Reference(m1_po_cdns_764915992331, (2.41,-1.775), rotation=3*pi/2))
hadder.add(gdstk.Reference(m1_po_cdns_764915992331, (1.015,-2.25), rotation=3*pi/2))
hadder.add(gdstk.Reference(m1_po_cdns_764915992331, (1.015,-3.23), rotation=3*pi/2))
hadder.add(gdstk.Reference(m1_po_cdns_764915992331, (2.42,-3.28)))
hadder.add(gdstk.Reference(m1_po_cdns_764915992331, (1.35,-2.56), rotation=3*pi/2))
hadder.add(gdstk.Reference(m1_po_cdns_764915992331, (1.02,-1.32), rotation=3*pi/2))
hadder.add(gdstk.Reference(m1_po_cdns_764915992331, (2.41,-2.855), rotation=3*pi/2))
hadder.add(gdstk.Reference(m1_po_cdns_764915992331, (2.41,-1.31), rotation=3*pi/2))
hadder.add(gdstk.Reference(m2_m1_cdns_764915992332, (1.43,-3.24), rotation=3*pi/2))
hadder.add(gdstk.Reference(m2_m1_cdns_764915992332, (1.35,-2.385), rotation=3*pi/2))
hadder.add(gdstk.Reference(m2_m1_cdns_764915992332, (1.925,-1.135), rotation=3*pi/2))
hadder.add(gdstk.Reference(m2_m1_cdns_764915992332, (1.595,-2.11), rotation=3*pi/2))
hadder.add(gdstk.Reference(m2_m1_cdns_764915992333, (0.65,-2.145), rotation=3*pi/2))
hadder.add(gdstk.Reference(m2_m1_cdns_764915992333, (0.65,-2.865), rotation=3*pi/2))
hadder.add(gdstk.Reference(m2_m1_cdns_764915992333, (1.75,-1.785), rotation=3*pi/2))
hadder.add(gdstk.Reference(m2_m1_cdns_764915992334, (1.75,-1.09), rotation=3*pi/2))
hadder.add(gdstk.Reference(m2_m1_cdns_764915992335, (2.405,-2.855), rotation=3*pi/2))
hadder.add(gdstk.Reference(m2_m1_cdns_764915992336, (0.825,-2.35), rotation=3*pi/2))
hadder.add(gdstk.Reference(m2_m1_cdns_764915992337, (2.455,-3.555), rotation=3*pi/2))
hadder.add(gdstk.Reference(m2_m1_cdns_764915992337, (2.765,-2.34), rotation=3*pi/2))
hadder.add(gdstk.Reference(m2_m1_cdns_764915992338, (2.61,-2.955), rotation=3*pi/2))
hadder.add(gdstk.Reference(m2_m1_cdns_764915992338, (2.61,-2.135), rotation=3*pi/2))
hadder.add(gdstk.Reference(m2_m1_cdns_764915992338, (2.59,-2.545), rotation=3*pi/2))
hadder.add(gdstk.Reference(m2_m1_cdns_764915992339, (1.43,-3.24), rotation=3*pi/2))
hadder.add(gdstk.Reference(m2_m1_cdns_7649159923310, (0.815,-3.33), rotation=3*pi/2))
hadder.add(gdstk.Reference(m2_m1_cdns_7649159923311, (2.42,-3.085), rotation=3*pi/2))
hadder.add(gdstk.Label('gnd', (0.43,-1.125), layer=7, texttype=3))
hadder.add(gdstk.Label('vdd', (3.265,-1.115), layer=7, texttype=3))
hadder.add(gdstk.Label('carry', (1.875,-3.685), layer=7, texttype=3))
hadder.add(gdstk.Label('sum', (1.43,-3.675), layer=7, texttype=3))
hadder.add(gdstk.Label('b', (1.41,-0.965), layer=7, texttype=3))
hadder.add(gdstk.Label('a', (1.66,-0.965), layer=7, texttype=3))

lib.write_gds('HAdder.gds')
